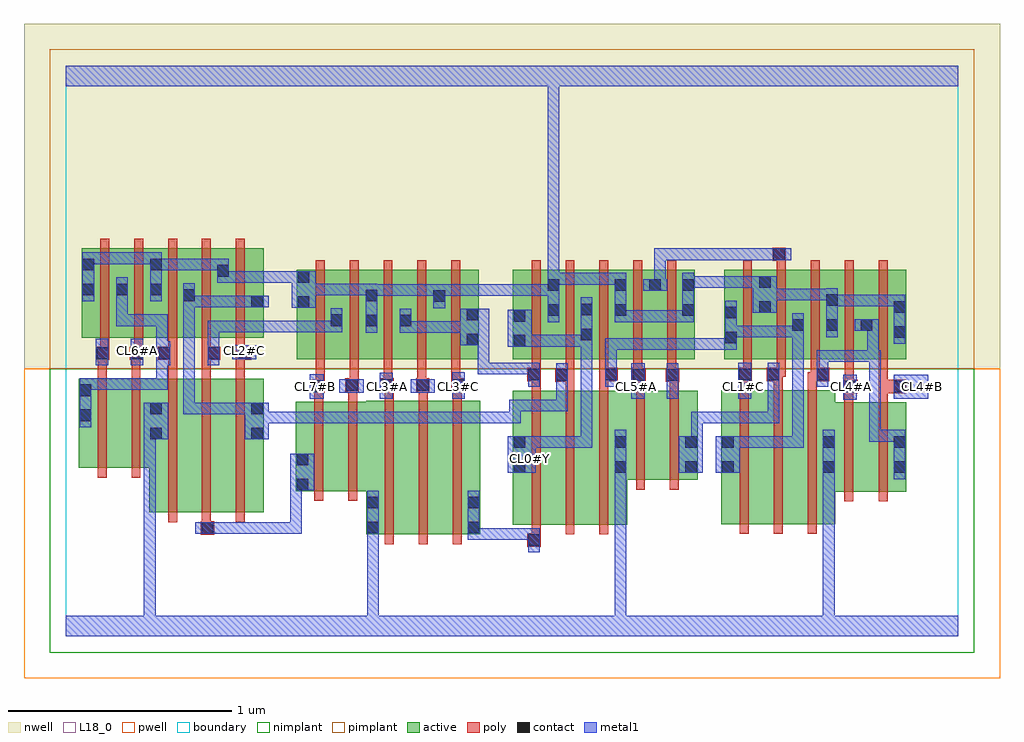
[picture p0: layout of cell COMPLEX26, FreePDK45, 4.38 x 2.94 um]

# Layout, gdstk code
import gdstk
lib = gdstk.Library(unit=1e-6, precision=1e-09)
def R(c, l, rs):  # rectangles x0, y0, x1, y1
    for r in rs: c.add(gdstk.rectangle(r[:2], r[2:], *l))
def A(c, l, x, y, w, h, nx, ny, dx, dy):  # array of equal rectangles
    R(c, l, [(x+i*dx, y+j*dy, x+i*dx+w, y+j*dy+h) for i in range(nx) for j in range(ny)])
active = (1, 0)
pwell = (2, 0)
nwell = (3, 0)
nimplant = (4, 0)
pimplant = (5, 0)
poly = (9, 0)
contact = (10, 0)
metal1 = (11, 0)
L18_0 = (18, 0)
boundary = (235, 0)

complex26 = lib.new_cell('COMPLEX26')
A(complex26, active, 1.34, 1.244, 0.06, 0.4, 3, 1, 0.152, 0)
R(complex26, active, [(1.346,0.458,1.526,1.058), (1.346,0.458,1.406,0.828), (1.526,0.458,1.678,1.058), (1.678,0.458,1.858,1.058), (1.798,0.458,1.858,1.058), (2.004,0.502,2.184,1.102), (2.184,0.502,2.336,1.102), (2.336,0.502,2.516,1.102), (2.456,0.502,2.516,1.102), (2.938,0.504,3.118,1.104), (3.118,0.504,3.27,1.104), (3.27,0.504,3.45,1.104), (0.374,0.556,0.554,1.156), (0.554,0.556,0.706,1.156), (0.706,0.556,0.886,1.156), (0.826,0.556,0.886,1.156), (2.004,0.556,2.064,1.102), (2.938,0.556,2.998,1.104), (3.39,0.65,3.588,1.05), (3.588,0.65,3.768,1.05), (3.708,0.65,3.768,1.05), (1.03,0.652,1.09,1.052), (1.03,0.652,1.21,1.052), (1.21,0.652,1.406,1.052), (2.456,0.702,2.652,1.102), (2.652,0.702,2.832,1.102), (2.772,0.702,2.832,1.102), (3.39,0.73,3.45,0.902), (0.058,0.756,0.118,1.156), (0.058,0.756,0.238,1.156), (0.238,0.756,0.434,1.156), (0.374,0.756,0.434,1.052), (1.036,1.244,1.096,1.644), (1.036,1.244,1.244,1.644), (1.184,1.244,1.244,1.644), (1.184,1.244,1.4,1.644), (1.34,1.244,1.552,1.644), (1.492,1.244,1.704,1.644), (1.644,1.244,1.852,1.644), (1.792,1.244,1.852,1.644), (2.004,1.244,2.064,1.644), (2.004,1.244,2.216,1.644), (2.156,1.244,2.216,1.644), (2.156,1.244,2.364,1.644), (2.304,1.244,2.516,1.644), (2.456,1.244,2.516,1.644), (2.456,1.244,2.672,1.644), (2.612,1.244,2.82,1.644), (2.76,1.244,2.82,1.644), (2.952,1.244,3.012,1.644), (2.952,1.244,3.164,1.644), (3.104,1.244,3.312,1.644), (3.252,1.244,3.464,1.644), (3.404,1.244,3.62,1.644), (3.56,1.244,3.62,1.644), (3.56,1.244,3.768,1.644), (3.708,1.244,3.768,1.644), (2.612,1.258,2.672,1.644), (2.304,1.324,2.364,1.644), (0.07,1.34,0.13,1.74), (0.07,1.34,0.282,1.74), (0.222,1.34,0.434,1.74), (0.374,1.34,0.434,1.74), (0.374,1.34,0.582,1.74), (0.522,1.34,0.582,1.74), (0.522,1.34,0.734,1.74), (0.674,1.34,0.886,1.74), (0.826,1.34,0.886,1.644), (0.674,1.358,0.734,1.74), (3.252,1.366,3.312,1.644), (3.404,1.366,3.464,1.644), (3.104,1.448,3.164,1.644), (0.222,1.526,0.282,1.644)])
R(complex26, pwell, [(-0.188,-0.188,4.188,1.2)])
R(complex26, nwell, [(-0.188,1.2,4.188,2.748)])
R(complex26, nimplant, [(-0.072,-0.072,4.072,1.2)])
R(complex26, pimplant, [(-0.072,1.2,4.072,2.632)])
A(complex26, poly, 1.43, 0.414, 0.04, 0.688, 3, 1, 0.152, 0)
A(complex26, poly, 2.088, 0.458, 0.04, 0.688, 3, 1, 0.152, 0)
A(complex26, poly, 3.022, 0.46, 0.04, 0.688, 3, 1, 0.152, 0)
A(complex26, poly, 0.458, 0.512, 0.04, 0.688, 3, 1, 0.152, 0)
A(complex26, poly, 1.43, 1.062, 0.04, 0.076, 3, 1, 0.152, 0)
A(complex26, poly, 3.022, 1.108, 0.04, 0.076, 3, 1, 0.152, 0)
A(complex26, poly, 1.272, 1.118, 0.04, 0.122, 4, 1, 0.152, 0)
A(complex26, poly, 0.458, 1.16, 0.04, 0.12, 3, 1, 0.152, 0)
A(complex26, poly, 3.036, 1.164, 0.04, 0.076, 3, 1, 0.152, 0)
A(complex26, poly, 1.12, 1.2, 0.04, 0.488, 5, 1, 0.152, 0)
A(complex26, poly, 2.088, 1.2, 0.04, 0.488, 5, 1, 0.152, 0)
A(complex26, poly, 3.036, 1.2, 0.04, 0.488, 5, 1, 0.152, 0)
A(complex26, poly, 0.154, 1.26, 0.04, 0.076, 5, 1, 0.152, 0)
A(complex26, poly, 0.154, 1.296, 0.04, 0.488, 5, 1, 0.152, 0)
R(complex26, poly, [(2.068,0.402,2.128,0.462), (2.088,0.422,2.128,0.498), (0.604,0.456,0.664,0.516), (0.61,0.476,0.65,0.552), (3.49,0.606,3.53,1.094), (3.644,0.606,3.684,1.094), (1.114,0.608,1.154,1.096), (1.266,0.608,1.306,1.096), (2.556,0.658,2.596,1.146), (2.708,0.658,2.748,1.146), (0.142,0.712,0.182,1.2), (0.294,0.712,0.334,1.2), (3.49,1.054,3.53,1.13), (3.644,1.054,3.684,1.13), (1.114,1.056,1.154,1.132), (1.266,1.056,1.306,1.138), (3.49,1.09,3.55,1.15), (3.644,1.09,3.684,1.13), (3.644,1.09,3.684,1.13), (3.644,1.09,3.768,1.15), (1.1,1.092,1.16,1.152), (1.114,1.092,1.154,1.132), (1.114,1.092,1.154,1.132), (1.252,1.098,1.312,1.158), (1.266,1.098,1.306,1.138), (1.266,1.098,1.306,1.138), (1.41,1.098,1.47,1.158), (1.43,1.098,1.47,1.138), (1.43,1.098,1.47,1.138), (1.57,1.098,1.63,1.158), (1.582,1.098,1.622,1.138), (1.582,1.098,1.622,1.138), (1.728,1.098,1.788,1.158), (1.734,1.098,1.774,1.138), (1.734,1.098,1.774,1.138), (2.088,1.106,2.128,1.184), (2.24,1.106,2.28,1.182), (2.392,1.106,2.432,1.184), (2.556,1.106,2.596,1.182), (2.708,1.106,2.748,1.182), (3.492,1.11,3.532,1.24), (3.492,1.11,3.532,1.15), (3.492,1.11,3.532,1.15), (3.644,1.11,3.684,1.24), (1.12,1.112,1.16,1.24), (2.194,1.142,2.28,1.202), (2.54,1.142,2.6,1.202), (2.69,1.142,2.75,1.202), (2.068,1.144,2.128,1.204), (2.088,1.144,2.128,1.184), (2.088,1.144,2.128,1.184), (2.392,1.144,2.432,1.184), (2.392,1.144,2.432,1.184), (2.392,1.144,2.474,1.204), (3.016,1.144,3.076,1.204), (3.022,1.144,3.062,1.184), (3.022,1.144,3.062,1.184), (3.142,1.144,3.214,1.204), (3.326,1.144,3.38,1.184), (3.34,1.144,3.38,1.184), (3.34,1.144,3.422,1.204), (0.142,1.16,0.182,1.28), (0.294,1.16,0.334,1.28), (2.24,1.162,2.28,1.202), (2.24,1.162,2.28,1.202), (2.24,1.162,2.28,1.24), (2.544,1.162,2.584,1.202), (2.544,1.162,2.584,1.202), (2.544,1.162,2.584,1.24), (2.696,1.162,2.736,1.202), (2.696,1.162,2.736,1.202), (2.696,1.162,2.736,1.24), (2.088,1.164,2.128,1.24), (2.392,1.164,2.432,1.24), (3.174,1.164,3.214,1.204), (3.174,1.164,3.228,1.204), (0.134,1.24,0.194,1.3), (0.286,1.24,0.346,1.3), (0.412,1.24,0.498,1.3), (0.61,1.24,0.65,1.28), (0.61,1.24,0.65,1.28), (0.61,1.24,0.692,1.3), (0.762,1.24,0.83,1.3), (0.154,1.26,0.194,1.3), (0.154,1.26,0.194,1.3), (0.306,1.26,0.346,1.3), (0.306,1.26,0.346,1.3), (0.458,1.26,0.498,1.3), (0.458,1.26,0.498,1.3), (0.762,1.26,0.802,1.3), (0.762,1.26,0.802,1.3), (3.188,1.648,3.228,1.724), (3.168,1.684,3.228,1.744)])
A(complex26, contact, 0.074, 1.53, 0.052, 0.052, 3, 1, 0.152, 0)
R(complex26, contact, [(2.072,0.406,2.124,0.458), (0.608,0.46,0.66,0.512), (1.35,0.462,1.402,0.514), (1.802,0.462,1.854,0.514), (1.35,0.574,1.402,0.626), (1.802,0.574,1.854,0.626), (1.034,0.656,1.086,0.708), (2.008,0.734,2.06,0.786), (2.46,0.734,2.512,0.786), (2.776,0.734,2.828,0.786), (2.942,0.734,2.994,0.786), (3.394,0.734,3.446,0.786), (3.712,0.734,3.764,0.786), (1.034,0.768,1.086,0.82), (2.008,0.846,2.06,0.898), (2.46,0.846,2.512,0.898), (2.776,0.846,2.828,0.898), (2.942,0.846,2.994,0.898), (3.394,0.846,3.446,0.898), (3.712,0.846,3.764,0.898), (0.378,0.884,0.43,0.936), (0.83,0.884,0.882,0.936), (0.062,0.966,0.114,1.018), (0.378,0.996,0.43,1.048), (0.83,0.996,0.882,1.048), (0.062,1.078,0.114,1.13), (3.494,1.094,3.546,1.146), (3.712,1.094,3.764,1.146), (1.104,1.096,1.156,1.148), (1.256,1.102,1.308,1.154), (1.414,1.102,1.466,1.154), (1.574,1.102,1.626,1.154), (1.732,1.102,1.784,1.154), (2.198,1.146,2.25,1.198), (2.544,1.146,2.596,1.198), (2.694,1.146,2.746,1.198), (2.072,1.148,2.124,1.2), (2.418,1.148,2.47,1.2), (3.02,1.148,3.072,1.2), (3.146,1.148,3.198,1.2), (3.366,1.148,3.418,1.2), (0.138,1.244,0.19,1.296), (0.29,1.244,0.342,1.296), (0.416,1.244,0.468,1.296), (0.636,1.244,0.688,1.296), (0.774,1.244,0.826,1.296), (2.008,1.3,2.06,1.352), (1.796,1.306,1.848,1.358), (2.956,1.314,3.008,1.366), (2.308,1.328,2.36,1.38), (3.712,1.34,3.764,1.392), (3.256,1.37,3.308,1.422), (3.408,1.37,3.46,1.422), (3.564,1.37,3.616,1.422), (1.344,1.39,1.396,1.442), (1.496,1.39,1.548,1.442), (1.188,1.392,1.24,1.444), (2.008,1.412,2.06,1.464), (1.796,1.418,1.848,1.47), (2.956,1.426,3.008,1.478), (2.16,1.438,2.212,1.49), (2.46,1.438,2.512,1.49), (2.764,1.438,2.816,1.49), (2.308,1.44,2.36,1.492), (3.108,1.452,3.16,1.504), (3.712,1.452,3.764,1.504), (1.04,1.474,1.092,1.526), (0.83,1.476,0.882,1.528), (3.408,1.482,3.46,1.534), (1.648,1.5,1.7,1.552), (1.344,1.502,1.396,1.554), (0.526,1.504,0.578,1.556), (2.16,1.55,2.212,1.602), (2.46,1.55,2.512,1.602), (2.616,1.55,2.668,1.602), (2.764,1.55,2.816,1.602), (3.108,1.564,3.16,1.616), (1.04,1.586,1.092,1.638), (0.678,1.614,0.73,1.666), (0.074,1.642,0.126,1.694), (0.378,1.642,0.43,1.694), (3.172,1.688,3.224,1.74)])
A(complex26, metal1, 2.418, 1.286, 0.052, 0.052, 3, 1, 0.11, 0)
A(complex26, metal1, 2.418, 1.286, 0.162, 0.052, 3, 1, 0.11, 0)
A(complex26, metal1, 2.638, 1.688, 0.052, 0.052, 3, 1, 0.166, 0)
R(complex26, metal1, [(0,0,4,0.092), (0.35,0.04,0.402,0.092), (0.35,0.04,0.402,0.092), (0.35,0.04,0.402,0.092), (0.35,0.04,0.402,0.092), (0.35,0.04,0.402,0.092), (0.35,0.04,0.402,0.092), (0.35,0.04,0.402,0.092), (0.35,0.04,0.402,0.092), (0.35,0.04,0.402,0.936), (1.35,0.04,1.402,0.092), (1.35,0.04,1.402,0.092), (1.35,0.04,1.402,0.092), (1.35,0.04,1.402,0.092), (1.35,0.04,1.402,0.092), (1.35,0.04,1.402,0.092), (1.35,0.04,1.402,0.092), (1.35,0.04,1.402,0.092), (1.35,0.04,1.402,0.486), (2.46,0.04,2.512,0.092), (2.46,0.04,2.512,0.092), (2.46,0.04,2.512,0.092), (2.46,0.04,2.512,0.092), (2.46,0.04,2.512,0.092), (2.46,0.04,2.512,0.092), (2.46,0.04,2.512,0.758), (3.394,0.04,3.446,0.758), (2.072,0.378,2.124,0.486), (1.35,0.434,1.402,0.654), (1.802,0.434,1.854,0.486), (1.802,0.434,1.854,0.486), (1.802,0.434,1.854,0.654), (1.802,0.434,2.102,0.486), (2.05,0.434,2.102,0.486), (2.05,0.434,2.124,0.486), (0.58,0.46,0.688,0.512), (0.636,0.46,0.688,0.512), (0.636,0.46,0.688,0.512), (0.636,0.46,0.91,0.512), (0.858,0.46,0.91,0.512), (0.858,0.46,0.91,0.512), (0.858,0.46,0.91,0.512), (0.858,0.46,1.058,0.512), (1.006,0.46,1.058,0.512), (1.006,0.46,1.058,0.512), (1.006,0.46,1.058,0.512), (1.006,0.46,1.058,0.512), (1.006,0.46,1.058,0.512), (1.006,0.46,1.058,0.708), (1.006,0.656,1.114,0.82), (2.46,0.706,2.512,0.758), (2.46,0.706,2.512,0.758), (2.46,0.706,2.512,0.926), (3.394,0.706,3.446,0.758), (3.394,0.706,3.446,0.758), (3.394,0.706,3.446,0.758), (3.394,0.706,3.446,0.758), (3.394,0.706,3.446,0.758), (3.394,0.706,3.446,0.758), (3.394,0.706,3.446,0.758), (3.394,0.706,3.446,0.758), (3.394,0.706,3.446,0.926), (3.712,0.706,3.764,0.926), (1.98,0.734,2.106,0.898), (2.748,0.734,2.856,0.898), (2.914,0.734,3.022,0.898), (2.05,0.846,2.102,0.898), (2.05,0.846,2.102,0.898), (2.05,0.846,2.102,0.898), (2.05,0.846,2.102,0.898), (2.05,0.846,2.102,0.898), (2.05,0.846,2.102,0.898), (2.05,0.846,2.216,0.898), (2.164,0.846,2.216,0.898), (2.164,0.846,2.216,0.898), (2.164,0.846,2.216,0.898), (2.164,0.846,2.216,0.898), (2.164,0.846,2.216,0.898), (2.164,0.846,2.216,0.898), (2.164,0.846,2.216,0.898), (2.164,0.846,2.216,0.898), (2.164,0.846,2.216,0.898), (2.164,0.846,2.36,0.898), (2.308,0.846,2.36,0.898), (2.308,0.846,2.36,1.352), (2.804,0.846,2.856,1.008), (2.97,0.846,3.022,0.898), (2.97,0.846,3.022,0.898), (2.97,0.846,3.198,0.898), (3.146,0.846,3.198,0.898), (3.146,0.846,3.198,0.898), (3.146,0.846,3.198,0.898), (3.146,0.846,3.308,0.898), (3.256,0.846,3.308,0.898), (3.256,0.846,3.308,0.898), (3.256,0.846,3.308,0.898), (3.256,0.846,3.308,0.898), (3.256,0.846,3.308,0.898), (3.256,0.846,3.308,1.394), (3.602,0.874,3.654,0.926), (3.602,0.874,3.764,0.926), (3.602,0.874,3.654,1.284), (3.712,0.874,3.764,0.926), (3.712,0.874,3.764,0.926), (3.712,0.874,3.764,0.926), (3.712,0.874,3.764,0.926), (0.35,0.884,0.458,1.048), (0.802,0.884,0.91,1.048), (0.062,0.938,0.114,1.158), (0.858,0.956,1.12,1.008), (1.068,0.956,1.12,1.008), (1.068,0.956,1.12,1.008), (1.068,0.956,1.12,1.008), (1.068,0.956,1.23,1.008), (1.178,0.956,1.23,1.008), (1.178,0.956,1.23,1.008), (1.178,0.956,1.23,1.008), (1.178,0.956,1.34,1.008), (1.288,0.956,1.34,1.008), (1.288,0.956,1.34,1.008), (1.288,0.956,1.34,1.008), (1.288,0.956,1.564,1.008), (1.512,0.956,1.564,1.008), (1.512,0.956,1.564,1.008), (1.512,0.956,1.564,1.008), (1.512,0.956,1.674,1.008), (1.622,0.956,1.674,1.008), (1.622,0.956,1.82,1.008), (1.768,0.956,1.82,1.008), (1.768,0.956,1.82,1.008), (1.768,0.956,1.82,1.008), (1.768,0.956,2.04,1.008), (1.988,0.956,2.04,1.008), (1.988,0.956,2.04,1.062), (2.804,0.956,2.856,1.008), (2.804,0.956,2.966,1.008), (2.914,0.956,2.966,1.008), (2.914,0.956,2.966,1.008), (2.914,0.956,2.966,1.008), (2.914,0.956,3.198,1.008), (3.146,0.956,3.198,1.172), (0.526,0.996,0.578,1.048), (0.526,0.996,0.688,1.048), (0.526,0.996,0.578,1.528), (0.636,0.996,0.688,1.048), (0.636,0.996,0.688,1.048), (0.636,0.996,0.688,1.048), (0.636,0.996,0.854,1.048), (0.802,0.996,0.854,1.048), (0.802,0.996,0.854,1.048), (1.988,1.01,2.04,1.062), (1.988,1.01,2.04,1.062), (1.988,1.01,2.04,1.062), (1.988,1.01,2.25,1.062), (2.198,1.01,2.25,1.17), (3.486,1.062,3.546,1.174), (1.094,1.066,1.156,1.176), (1.408,1.066,1.466,1.182), (1.732,1.066,1.788,1.184), (2.534,1.066,2.596,1.226), (2.694,1.066,2.746,1.226), (3.014,1.066,3.072,1.228), (3.712,1.066,3.866,1.174), (1.226,1.092,1.336,1.154), (1.546,1.092,1.654,1.154), (0.062,1.106,0.114,1.158), (0.062,1.106,0.114,1.158), (0.062,1.106,0.292,1.158), (0.24,1.106,0.292,1.158), (0.24,1.106,0.292,1.158), (0.24,1.106,0.292,1.158), (0.24,1.106,0.456,1.158), (0.404,1.106,0.456,1.158), (0.404,1.106,0.456,1.268), (2.198,1.118,2.25,1.17), (2.198,1.118,2.25,1.226), (2.072,1.12,2.124,1.228), (2.418,1.12,2.47,1.228), (3.146,1.12,3.198,1.172), (3.146,1.12,3.198,1.228), (3.366,1.12,3.418,1.228), (1.846,1.176,1.898,1.228), (1.846,1.176,2.102,1.228), (1.846,1.176,1.898,1.358), (2.05,1.176,2.102,1.228), (2.05,1.176,2.124,1.228), (2.418,1.176,2.47,1.228), (2.418,1.176,2.47,1.228), (2.418,1.176,2.47,1.338), (3.366,1.176,3.418,1.228), (3.366,1.176,3.418,1.284), (0.134,1.216,0.19,1.334), (0.29,1.216,0.346,1.334), (0.404,1.216,0.456,1.268), (0.404,1.216,0.468,1.268), (0.404,1.216,0.456,1.444), (0.416,1.216,0.468,1.324), (0.636,1.216,0.688,1.324), (3.366,1.232,3.644,1.284), (3.592,1.232,3.644,1.284), (3.592,1.232,3.644,1.284), (3.592,1.232,3.644,1.422), (3.592,1.232,3.654,1.284), (0.746,1.244,0.854,1.306), (0.636,1.272,0.688,1.324), (0.636,1.272,0.688,1.416), (2.638,1.286,2.69,1.338), (2.638,1.286,2.69,1.338), (2.748,1.286,2.8,1.338), (2.748,1.286,3.008,1.338), (2.956,1.286,3.008,1.506), (1.98,1.3,2.088,1.464), (2.036,1.3,2.088,1.352), (2.036,1.3,2.088,1.352), (2.036,1.3,2.25,1.352), (2.198,1.3,2.25,1.352), (2.198,1.3,2.25,1.352), (2.198,1.3,2.25,1.352), (2.198,1.3,2.36,1.352), (2.308,1.3,2.36,1.352), (2.308,1.3,2.36,1.352), (2.308,1.3,2.36,1.352), (2.308,1.3,2.36,1.352), (2.308,1.3,2.36,1.52), (1.768,1.306,1.898,1.47), (3.712,1.312,3.764,1.532), (2.956,1.342,3.008,1.394), (2.956,1.342,3.008,1.394), (2.956,1.342,3.132,1.394), (3.08,1.342,3.132,1.394), (3.08,1.342,3.132,1.394), (3.08,1.342,3.132,1.394), (3.08,1.342,3.308,1.394), (3.256,1.342,3.308,1.45), (3.408,1.342,3.46,1.562), (1.344,1.362,1.396,1.582), (1.496,1.362,1.548,1.47), (1.496,1.362,1.674,1.414), (1.622,1.362,1.674,1.414), (1.622,1.362,1.674,1.414), (1.622,1.362,1.674,1.414), (1.622,1.362,1.82,1.414), (1.768,1.362,1.82,1.414), (1.768,1.362,1.82,1.414), (0.636,1.364,0.88,1.416), (0.828,1.364,0.88,1.416), (0.828,1.364,0.88,1.416), (0.828,1.364,0.88,1.416), (0.828,1.364,1.02,1.416), (0.968,1.364,1.02,1.416), (0.968,1.364,1.02,1.416), (0.968,1.364,1.02,1.416), (0.968,1.364,1.02,1.416), (0.968,1.364,1.02,1.416), (0.968,1.364,1.24,1.416), (1.188,1.364,1.24,1.472), (3.536,1.37,3.644,1.422), (0.226,1.392,0.278,1.444), (0.226,1.392,0.278,1.444), (0.226,1.392,0.278,1.444), (0.226,1.392,0.278,1.554), (0.226,1.392,0.456,1.444), (0.404,1.392,0.456,1.444), (2.16,1.41,2.212,1.63), (2.46,1.41,2.512,1.462), (2.46,1.41,2.512,1.462), (2.46,1.41,2.512,1.63), (2.46,1.41,2.58,1.462), (2.528,1.41,2.58,1.462), (2.528,1.41,2.69,1.462), (2.638,1.41,2.69,1.462), (2.638,1.41,2.816,1.462), (2.764,1.41,2.816,1.462), (2.764,1.41,2.816,1.462), (2.764,1.41,2.816,1.63), (3.08,1.452,3.188,1.616), (1.648,1.472,1.7,1.58), (1.012,1.474,1.12,1.638), (0.526,1.476,0.578,1.528), (0.526,1.476,0.578,1.528), (0.526,1.476,0.578,1.528), (0.526,1.476,0.578,1.528), (0.526,1.476,0.688,1.528), (0.526,1.476,0.578,1.584), (0.636,1.476,0.688,1.528), (0.636,1.476,0.688,1.528), (0.636,1.476,0.688,1.528), (0.636,1.476,0.854,1.528), (0.802,1.476,0.854,1.528), (0.802,1.476,0.854,1.528), (0.802,1.476,0.91,1.528), (3.408,1.48,3.57,1.532), (3.518,1.48,3.57,1.532), (3.518,1.48,3.57,1.532), (3.518,1.48,3.57,1.532), (3.518,1.48,3.764,1.532), (3.712,1.48,3.764,1.532), (3.712,1.48,3.764,1.532), (0.074,1.502,0.126,1.722), (0.226,1.502,0.278,1.61), (0.378,1.502,0.43,1.722), (3.136,1.508,3.188,1.56), (3.136,1.508,3.188,1.56), (3.136,1.508,3.308,1.56), (3.256,1.508,3.308,1.56), (3.256,1.508,3.308,1.56), (3.256,1.508,3.308,1.56), (3.256,1.508,3.46,1.56), (1.344,1.528,1.396,1.58), (1.344,1.528,1.396,1.58), (1.344,1.528,1.506,1.58), (1.454,1.528,1.506,1.58), (1.454,1.528,1.506,1.58), (1.454,1.528,1.506,1.58), (1.454,1.528,1.7,1.58), (1.648,1.528,1.82,1.58), (1.768,1.528,1.82,1.58), (1.768,1.528,1.93,1.58), (1.878,1.528,1.93,1.58), (1.878,1.528,1.93,1.58), (1.878,1.528,1.93,1.58), (1.878,1.528,2.102,1.58), (2.05,1.528,2.102,1.58), (2.05,1.528,2.212,1.58), (1.068,1.53,1.12,1.582), (1.068,1.53,1.12,1.582), (1.068,1.53,1.23,1.582), (1.178,1.53,1.23,1.582), (1.178,1.53,1.23,1.582), (1.178,1.53,1.23,1.582), (1.178,1.53,1.396,1.582), (2.588,1.55,2.696,1.602), (2.638,1.55,2.69,1.74), (2.764,1.564,3.022,1.616), (2.97,1.564,3.022,1.616), (2.97,1.564,3.022,1.616), (2.97,1.564,3.022,1.616), (2.97,1.564,3.132,1.616), (2.16,1.578,2.212,1.63), (2.16,1.578,2.212,1.63), (2.16,1.578,2.36,1.63), (2.16,1.578,2.212,2.52), (2.308,1.578,2.36,1.63), (2.308,1.578,2.36,1.63), (2.308,1.578,2.36,1.63), (2.308,1.578,2.512,1.63), (0.678,1.586,0.73,1.694), (0.678,1.586,0.848,1.638), (0.796,1.586,0.848,1.638), (0.796,1.586,0.848,1.638), (0.796,1.586,0.848,1.638), (0.796,1.586,1.064,1.638), (0.378,1.642,0.456,1.694), (0.404,1.642,0.456,1.694), (0.404,1.642,0.578,1.694), (0.526,1.642,0.578,1.694), (0.526,1.642,0.578,1.694), (0.526,1.642,0.578,1.694), (0.526,1.642,0.73,1.694), (0.074,1.67,0.126,1.722), (0.074,1.67,0.126,1.722), (0.074,1.67,0.292,1.722), (0.24,1.67,0.292,1.722), (0.24,1.67,0.292,1.722), (0.24,1.67,0.292,1.722), (0.24,1.67,0.43,1.722), (2.638,1.688,2.69,1.74), (2.638,1.688,2.69,1.74), (2.638,1.688,2.856,1.74), (2.804,1.688,3.022,1.74), (2.97,1.688,3.022,1.74), (2.97,1.688,3.022,1.74), (2.97,1.688,3.196,1.74), (3.144,1.688,3.196,1.74), (3.144,1.688,3.196,1.74), (3.144,1.688,3.252,1.74), (0,2.468,4,2.56), (2.16,2.468,2.212,2.52), (2.16,2.468,2.212,2.52), (2.16,2.468,2.212,2.52), (2.16,2.468,2.212,2.52), (2.16,2.468,2.212,2.52), (2.16,2.468,2.212,2.52), (2.16,2.468,2.212,2.52), (2.16,2.468,2.212,2.52), (2.16,2.468,2.212,2.52), (2.16,2.468,2.212,2.52), (2.16,2.468,2.212,2.52), (2.16,2.468,2.212,2.52), (2.16,2.468,2.212,2.52), (2.16,2.468,2.212,2.52), (2.16,2.468,2.212,2.52), (2.16,2.468,2.212,2.52)])
A(complex26, L18_0, 1.094, 1.094, 0.052, 0.052, 5, 1, 0.16, 0)
R(complex26, L18_0, [(0,0,4,0.092), (0.35,0.04,0.402,0.092), (0.35,0.04,0.402,0.092), (0.35,0.04,0.402,0.092), (0.35,0.04,0.402,0.092), (0.35,0.04,0.402,0.092), (0.35,0.04,0.402,0.092), (0.35,0.04,0.402,0.092), (0.35,0.04,0.402,0.092), (0.35,0.04,0.402,0.936), (1.35,0.04,1.402,0.092), (1.35,0.04,1.402,0.092), (1.35,0.04,1.402,0.092), (1.35,0.04,1.402,0.092), (1.35,0.04,1.402,0.092), (1.35,0.04,1.402,0.092), (1.35,0.04,1.402,0.092), (1.35,0.04,1.402,0.092), (1.35,0.04,1.402,0.486), (2.46,0.04,2.512,0.092), (2.46,0.04,2.512,0.092), (2.46,0.04,2.512,0.092), (2.46,0.04,2.512,0.092), (2.46,0.04,2.512,0.092), (2.46,0.04,2.512,0.092), (2.46,0.04,2.512,0.758), (3.394,0.04,3.446,0.758), (1.35,0.434,1.402,0.654), (2.46,0.706,2.512,0.926), (2.46,0.706,2.512,0.758), (2.46,0.706,2.512,0.758), (3.394,0.706,3.446,0.926), (3.394,0.706,3.446,0.758), (3.394,0.706,3.446,0.758), (3.394,0.706,3.446,0.758), (3.394,0.706,3.446,0.758), (3.394,0.706,3.446,0.758), (3.394,0.706,3.446,0.758), (3.394,0.706,3.446,0.758), (3.394,0.706,3.446,0.758), (1.98,0.734,2.106,0.898), (2.054,0.774,2.106,0.826), (2.05,0.846,2.102,0.898), (2.05,0.846,2.102,0.898), (2.05,0.846,2.102,0.898), (2.05,0.846,2.102,0.898), (2.05,0.846,2.102,0.898), (2.05,0.846,2.102,0.898), (2.05,0.846,2.216,0.898), (2.164,0.846,2.216,0.898), (2.164,0.846,2.216,0.898), (2.164,0.846,2.216,0.898), (2.164,0.846,2.216,0.898), (2.164,0.846,2.216,0.898), (2.164,0.846,2.216,0.898), (2.164,0.846,2.216,0.898), (2.164,0.846,2.216,0.898), (2.164,0.846,2.216,0.898), (2.164,0.846,2.36,0.898), (2.308,0.846,2.36,0.898), (2.308,0.846,2.36,1.352), (0.35,0.884,0.458,1.048), (3.486,1.062,3.546,1.174), (1.094,1.066,1.156,1.176), (1.408,1.066,1.466,1.182), (1.732,1.066,1.788,1.184), (2.534,1.066,2.596,1.226), (2.694,1.066,2.746,1.226), (3.014,1.066,3.072,1.228), (3.712,1.066,3.866,1.174), (1.226,1.092,1.336,1.154), (1.546,1.092,1.654,1.154), (2.534,1.094,2.586,1.146), (2.694,1.094,2.746,1.146), (3.014,1.094,3.066,1.146), (3.494,1.094,3.546,1.146), (3.814,1.094,3.866,1.146), (0.134,1.216,0.19,1.334), (0.29,1.216,0.346,1.334), (0.746,1.244,0.854,1.306), (0.134,1.254,0.186,1.306), (0.294,1.254,0.346,1.306), (0.774,1.254,0.826,1.306), (1.98,1.3,2.088,1.464), (2.036,1.3,2.088,1.352), (2.036,1.3,2.088,1.352), (2.036,1.3,2.25,1.352), (2.198,1.3,2.25,1.352), (2.198,1.3,2.25,1.352), (2.198,1.3,2.25,1.352), (2.198,1.3,2.36,1.352), (2.308,1.3,2.36,1.52), (2.308,1.3,2.36,1.352), (2.308,1.3,2.36,1.352), (2.308,1.3,2.36,1.352), (2.308,1.3,2.36,1.352), (3.712,1.312,3.764,1.532), (3.408,1.342,3.46,1.562), (1.344,1.362,1.396,1.582), (2.16,1.41,2.212,1.63), (2.46,1.41,2.512,1.63), (2.46,1.41,2.512,1.462), (2.46,1.41,2.512,1.462), (2.46,1.41,2.58,1.462), (2.528,1.41,2.58,1.462), (2.528,1.41,2.69,1.462), (2.638,1.41,2.69,1.462), (2.638,1.41,2.816,1.462), (2.764,1.41,2.816,1.63), (2.764,1.41,2.816,1.462), (2.764,1.41,2.816,1.462), (3.08,1.452,3.188,1.616), (1.648,1.472,1.7,1.58), (1.012,1.474,1.12,1.638), (3.408,1.48,3.57,1.532), (3.518,1.48,3.57,1.532), (3.518,1.48,3.57,1.532), (3.518,1.48,3.57,1.532), (3.518,1.48,3.764,1.532), (3.712,1.48,3.764,1.532), (3.712,1.48,3.764,1.532), (0.074,1.502,0.126,1.722), (0.378,1.502,0.43,1.722), (3.136,1.508,3.188,1.56), (3.136,1.508,3.188,1.56), (3.136,1.508,3.308,1.56), (3.256,1.508,3.308,1.56), (3.256,1.508,3.308,1.56), (3.256,1.508,3.308,1.56), (3.256,1.508,3.46,1.56), (1.344,1.528,1.396,1.58), (1.344,1.528,1.396,1.58), (1.344,1.528,1.506,1.58), (1.454,1.528,1.506,1.58), (1.454,1.528,1.506,1.58), (1.454,1.528,1.506,1.58), (1.454,1.528,1.7,1.58), (1.648,1.528,1.82,1.58), (1.768,1.528,1.82,1.58), (1.768,1.528,1.93,1.58), (1.878,1.528,1.93,1.58), (1.878,1.528,1.93,1.58), (1.878,1.528,1.93,1.58), (1.878,1.528,2.102,1.58), (2.05,1.528,2.102,1.58), (2.05,1.528,2.212,1.58), (1.068,1.53,1.12,1.582), (1.068,1.53,1.12,1.582), (1.068,1.53,1.23,1.582), (1.178,1.53,1.23,1.582), (1.178,1.53,1.23,1.582), (1.178,1.53,1.23,1.582), (1.178,1.53,1.396,1.582), (2.764,1.564,3.022,1.616), (2.97,1.564,3.022,1.616), (2.97,1.564,3.022,1.616), (2.97,1.564,3.022,1.616), (2.97,1.564,3.132,1.616), (2.16,1.578,2.212,1.63), (2.16,1.578,2.212,1.63), (2.16,1.578,2.212,2.52), (2.16,1.578,2.36,1.63), (2.308,1.578,2.36,1.63), (2.308,1.578,2.36,1.63), (2.308,1.578,2.36,1.63), (2.308,1.578,2.512,1.63), (0.678,1.586,0.73,1.694), (0.678,1.586,0.848,1.638), (0.796,1.586,0.848,1.638), (0.796,1.586,0.848,1.638), (0.796,1.586,0.848,1.638), (0.796,1.586,1.064,1.638), (0.378,1.642,0.456,1.694), (0.404,1.642,0.456,1.694), (0.404,1.642,0.578,1.694), (0.526,1.642,0.578,1.694), (0.526,1.642,0.578,1.694), (0.526,1.642,0.578,1.694), (0.526,1.642,0.73,1.694), (0.074,1.67,0.126,1.722), (0.074,1.67,0.126,1.722), (0.074,1.67,0.292,1.722), (0.24,1.67,0.292,1.722), (0.24,1.67,0.292,1.722), (0.24,1.67,0.292,1.722), (0.24,1.67,0.43,1.722), (0,2.468,4,2.56), (2.16,2.468,2.212,2.52), (2.16,2.468,2.212,2.52), (2.16,2.468,2.212,2.52), (2.16,2.468,2.212,2.52), (2.16,2.468,2.212,2.52), (2.16,2.468,2.212,2.52), (2.16,2.468,2.212,2.52), (2.16,2.468,2.212,2.52), (2.16,2.468,2.212,2.52), (2.16,2.468,2.212,2.52), (2.16,2.468,2.212,2.52), (2.16,2.468,2.212,2.52), (2.16,2.468,2.212,2.52), (2.16,2.468,2.212,2.52), (2.16,2.468,2.212,2.52), (2.16,2.468,2.212,2.52)])
R(complex26, boundary, [(0,0,4,2.56)])
complex26.add(gdstk.Label('CL0#Y', (2.08,0.8), layer=11, texttype=0))
complex26.add(gdstk.Label('CL1#C', (3.04,1.12), layer=11, texttype=0))
complex26.add(gdstk.Label('CL2#C', (0.8,1.28), layer=11, texttype=0))
complex26.add(gdstk.Label('CL3#A', (1.44,1.12), layer=11, texttype=0))
complex26.add(gdstk.Label('CL3#B', (1.6,1.12), layer=11, texttype=0))
complex26.add(gdstk.Label('CL3#C', (1.76,1.12), layer=11, texttype=0))
complex26.add(gdstk.Label('CL4#A', (3.52,1.12), layer=11, texttype=0))
complex26.add(gdstk.Label('CL4#B', (3.84,1.12), layer=11, texttype=0))
complex26.add(gdstk.Label('CL5#A', (2.56,1.12), layer=11, texttype=0))
complex26.add(gdstk.Label('CL5#B', (2.72,1.12), layer=11, texttype=0))
complex26.add(gdstk.Label('CL6#A', (0.32,1.28), layer=11, texttype=0))
complex26.add(gdstk.Label('CL6#B', (0.16,1.28), layer=11, texttype=0))
complex26.add(gdstk.Label('CL7#A', (1.28,1.12), layer=11, texttype=0))
complex26.add(gdstk.Label('CL7#B', (1.12,1.12), layer=11, texttype=0))

lib.write_gds('COMPLEX26.gds')
